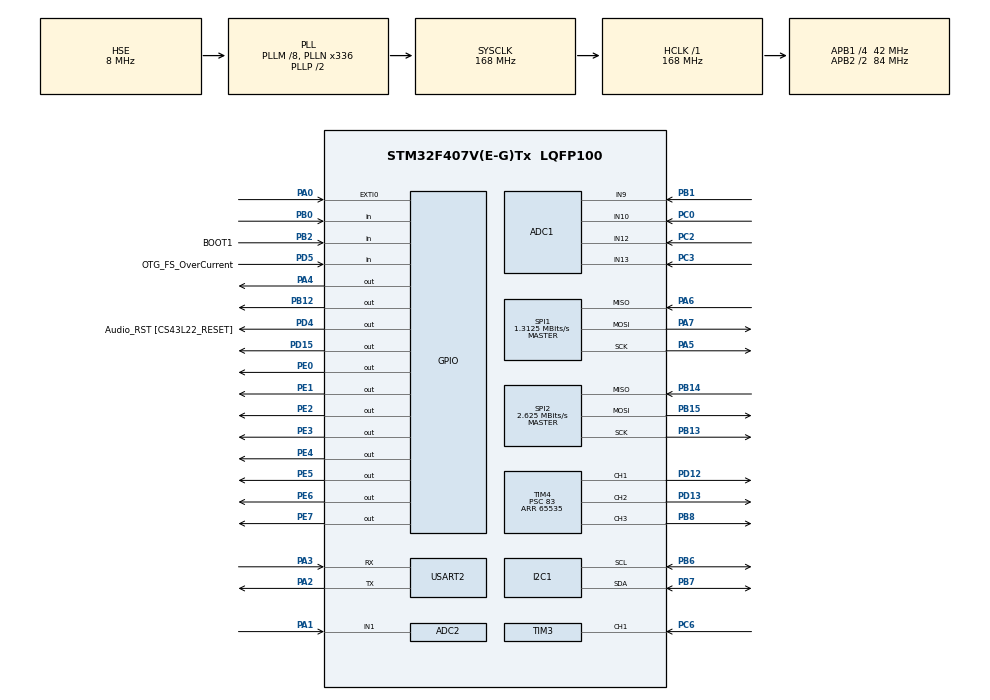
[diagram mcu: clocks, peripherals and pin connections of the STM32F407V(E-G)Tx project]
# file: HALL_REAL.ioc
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ADC1.Channel-1\#ChannelRegularConversion=ADC_CHANNEL_10
ADC1.Channel-2\#ChannelRegularConversion=ADC_CHANNEL_12
ADC1.Channel-3\#ChannelRegularConversion=ADC_CHANNEL_13
ADC1.Channel-4\#ChannelRegularConversion=ADC_CHANNEL_9
ADC1.ContinuousConvMode=ENABLE
ADC1.DMAContinuousRequests=ENABLE
ADC1.NbrOfConversion=4
ADC1.NbrOfConversionFlag=1
ADC1.Rank-1\#ChannelRegularConversion=1
ADC1.Rank-2\#ChannelRegularConversion=2
ADC1.Rank-3\#ChannelRegularConversion=3
ADC1.Rank-4\#ChannelRegularConversion=4
ADC1.SamplingTime-1\#ChannelRegularConversion=ADC_SAMPLETIME_84CYCLES
ADC1.SamplingTime-2\#ChannelRegularConversion=ADC_SAMPLETIME_84CYCLES
ADC1.SamplingTime-3\#ChannelRegularConversion=ADC_SAMPLETIME_84CYCLES
ADC1.SamplingTime-4\#ChannelRegularConversion=ADC_SAMPLETIME_84CYCLES
ADC1.ScanConvMode=ENABLE
ADC1.master=1
ADC2.Channel-1\#ChannelRegularConversion=ADC_CHANNEL_1
ADC2.NbrOfConversionFlag=1
ADC2.Rank-1\#ChannelRegularConversion=1
ADC2.SamplingTime-1\#ChannelRegularConversion=ADC_SAMPLETIME_3CYCLES
Dma.ADC1.0.Direction=DMA_PERIPH_TO_MEMORY
Dma.ADC1.0.FIFOMode=DMA_FIFOMODE_DISABLE
Dma.ADC1.0.Instance=DMA2_Stream0
Dma.ADC1.0.MemDataAlignment=DMA_MDATAALIGN_HALFWORD
Dma.ADC1.0.MemInc=DMA_MINC_ENABLE
Dma.ADC1.0.Mode=DMA_CIRCULAR
Dma.ADC1.0.PeriphDataAlignment=DMA_PDATAALIGN_HALFWORD
Dma.ADC1.0.PeriphInc=DMA_PINC_DISABLE
Dma.ADC1.0.Priority=DMA_PRIORITY_LOW
Dma.Request0=ADC1
FATFS._USE_LFN=1
I2C1.I2C_Mode=I2C_Fast
Mcu.Family=STM32F4
Mcu.Name=STM32F407V(E-G)Tx
Mcu.Package=LQFP100
NVIC.DMA2_Stream0_IRQn=true\:0\:0\:false\:false\:true\:false\:true\:true
NVIC.EXTI0_IRQn=true\:0\:0\:false\:false\:true\:true\:true\:true
NVIC.PriorityGroup=NVIC_PRIORITYGROUP_0
NVIC.TIM3_IRQn=true\:0\:0\:false\:false\:true\:true\:true\:true
NVIC.TIM7_IRQn=true\:0\:0\:false\:true\:true\:2\:true\:true\:true
NVIC.USART2_IRQn=true\:0\:0\:false\:false\:true\:true\:true\:true
PA0-WKUP.Signal=GPXTI0
PA1.Signal=ADCx_IN1
PA10.GPIO_Label=OTG_FS_ID
PA10.GPIO_Mode=GPIO_MODE_AF_PP
PA10.GPIO_PuPd=GPIO_NOPULL
PA10.GPIO_Speed=GPIO_SPEED_FREQ_LOW
PA10.Signal=USB_OTG_FS_ID
PA11.GPIO_Label=OTG_FS_DM
PA11.GPIO_Mode=GPIO_MODE_AF_PP
PA11.GPIO_PuPd=GPIO_NOPULL
PA11.GPIO_Speed=GPIO_SPEED_FREQ_LOW
PA11.Signal=USB_OTG_FS_DM
PA12.GPIO_Label=OTG_FS_DP
PA12.GPIO_Mode=GPIO_MODE_AF_PP
PA12.GPIO_PuPd=GPIO_NOPULL
PA12.GPIO_Speed=GPIO_SPEED_FREQ_LOW
PA12.Signal=USB_OTG_FS_DP
PA13.GPIO_Label=SWDIO
PA13.Mode=Serial_Wire
PA13.Signal=SYS_JTMS-SWDIO
PA14.GPIO_Label=SWCLK
PA14.Mode=Serial_Wire
PA14.Signal=SYS_JTCK-SWCLK
PA2.Mode=Asynchronous
PA2.Signal=USART2_TX
PA3.Mode=Asynchronous
PA3.Signal=USART2_RX
PA4.Signal=GPIO_Output
PA5.Mode=Full_Duplex_Master
PA5.Signal=SPI1_SCK
PA6.Mode=Full_Duplex_Master
PA6.Signal=SPI1_MISO
PA7.Mode=Full_Duplex_Master
PA7.Signal=SPI1_MOSI
PA9.GPIO_Label=VBUS_FS
PA9.GPIO_Mode=GPIO_MODE_INPUT
PA9.GPIO_PuPd=GPIO_NOPULL
PA9.Signal=USB_OTG_FS_VBUS
PB0.Signal=GPIO_Input
PB1.Signal=ADCx_IN9
PB10.GPIO_Label=CLK_IN [MP45DT02_CLK]
PB10.GPIO_Mode=GPIO_MODE_AF_PP
PB10.GPIO_PuPd=GPIO_NOPULL
PB10.GPIO_Speed=GPIO_SPEED_FREQ_LOW
PB10.Signal=I2S2_CK
PB12.Signal=GPIO_Output
PB13.Mode=Full_Duplex_Master
PB13.Signal=SPI2_SCK
PB14.Mode=Full_Duplex_Master
PB14.Signal=SPI2_MISO
PB15.Mode=Full_Duplex_Master
PB15.Signal=SPI2_MOSI
PB2.GPIO_Label=BOOT1
PB2.GPIO_Mode=GPIO_MODE_INPUT
PB2.GPIO_PuPd=GPIO_NOPULL
PB2.Signal=GPIO_Input
PB3.GPIO_Label=SWO
PB3.Signal=SYS_JTDO-SWO
PB6.Mode=I2C
PB6.Signal=I2C1_SCL
PB7.Mode=I2C
PB7.Signal=I2C1_SDA
PB8.Signal=S_TIM4_CH3
PC0.Signal=ADCx_IN10
PC10.GPIO_Label=I2S3_SCK [CS43L22_SCLK]
PC10.GPIO_Mode=GPIO_MODE_AF_PP
PC10.GPIO_PuPd=GPIO_NOPULL
PC10.GPIO_Speed=GPIO_SPEED_FREQ_LOW
PC10.Signal=I2S3_CK
PC12.GPIO_Label=I2S3_SD [CS43L22_SDIN]
PC12.GPIO_Mode=GPIO_MODE_AF_PP
PC12.GPIO_PuPd=GPIO_NOPULL
PC12.GPIO_Speed=GPIO_SPEED_FREQ_LOW
PC12.Signal=I2S3_SD
PC14-OSC32_IN.GPIO_Label=PC14-OSC32_IN
PC14-OSC32_IN.Mode=LSE-External-Oscillator
PC14-OSC32_IN.Signal=RCC_OSC32_IN
PC15-OSC32_OUT.GPIO_Label=PC15-OSC32_OUT
PC15-OSC32_OUT.Mode=LSE-External-Oscillator
PC15-OSC32_OUT.Signal=RCC_OSC32_OUT
PC2.Signal=ADCx_IN12
PC3.Signal=ADCx_IN13
PC6.Signal=S_TIM3_CH1
PC7.GPIO_Label=I2S3_MCK [CS43L22_MCLK]
PC7.GPIO_Mode=GPIO_MODE_AF_PP
PC7.GPIO_PuPd=GPIO_NOPULL
PC7.GPIO_Speed=GPIO_SPEED_FREQ_LOW
PC7.Signal=I2S3_MCK
PD12.Signal=S_TIM4_CH1
PD13.Signal=S_TIM4_CH2
PD15.Signal=GPIO_Output
PD4.GPIO_Label=Audio_RST [CS43L22_RESET]
PD4.GPIO_PuPd=GPIO_NOPULL
PD4.GPIO_Speed=GPIO_SPEED_FREQ_LOW
PD4.Signal=GPIO_Output
PD5.GPIO_Label=OTG_FS_OverCurrent
PD5.GPIO_Mode=GPIO_MODE_INPUT
PD5.GPIO_PuPd=GPIO_NOPULL
PD5.Signal=GPIO_Input
PE0.Signal=GPIO_Output
PE1.Signal=GPIO_Output
PE2.Signal=GPIO_Output
PE3.Signal=GPIO_Output
PE4.Signal=GPIO_Output
PE5.Signal=GPIO_Output
PE6.Signal=GPIO_Output
PE7.Signal=GPIO_Output
PH0-OSC_IN.GPIO_Label=PH0-OSC_IN
PH0-OSC_IN.Mode=HSE-External-Oscillator
PH0-OSC_IN.Signal=RCC_OSC_IN
PH1-OSC_OUT.GPIO_Label=PH1-OSC_OUT
PH1-OSC_OUT.Mode=HSE-External-Oscillator
PH1-OSC_OUT.Signal=RCC_OSC_OUT
ProjectManager.HeapSize=0x200
ProjectManager.StackSize=0x400
ProjectManager.TargetToolchain=STM32CubeIDE
RCC.48MHZClocksFreq_Value=48000000
RCC.AHBFreq_Value=168000000
RCC.APB1CLKDivider=RCC_HCLK_DIV4
RCC.APB1Freq_Value=42000000
RCC.APB1TimFreq_Value=84000000
RCC.APB2CLKDivider=RCC_HCLK_DIV2
RCC.APB2Freq_Value=84000000
RCC.APB2TimFreq_Value=168000000
RCC.CortexFreq_Value=168000000
RCC.HCLKFreq_Value=168000000
RCC.HSE_VALUE=8000000
RCC.HSI_VALUE=16000000
RCC.PLLM=8
RCC.PLLN=336
RCC.PLLQ=7
RCC.PLLSourceVirtual=RCC_PLLSOURCE_HSE
RCC.SYSCLKFreq_VALUE=168000000
RCC.SYSCLKSource=RCC_SYSCLKSOURCE_PLLCLK
RCC.VCOOutputFreq_Value=336000000
SH.ADCx_IN1.0=ADC2_IN1,IN1
SH.ADCx_IN10.0=ADC1_IN10,IN10
SH.ADCx_IN12.0=ADC1_IN12,IN12
SH.ADCx_IN13.0=ADC1_IN13,IN13
SH.ADCx_IN9.0=ADC1_IN9,IN9
SH.S_TIM3_CH1.0=TIM3_CH1,Input_Capture1_from_TI1
SH.S_TIM4_CH1.0=TIM4_CH1,PWM Generation1 CH1
SH.S_TIM4_CH2.0=TIM4_CH2,PWM Generation2 CH2
SH.S_TIM4_CH3.0=TIM4_CH3,PWM Generation3 CH3
SPI1.BaudRatePrescaler=SPI_BAUDRATEPRESCALER_64
SPI1.CLKPhase=SPI_PHASE_1EDGE
SPI1.CLKPolarity=SPI_POLARITY_LOW
SPI1.CalculateBaudRate=1.3125 MBits/s
SPI1.Direction=SPI_DIRECTION_2LINES
SPI1.Mode=SPI_MODE_MASTER
SPI1.VirtualType=VM_MASTER
SPI2.BaudRatePrescaler=SPI_BAUDRATEPRESCALER_16
SPI2.CalculateBaudRate=2.625 MBits/s
SPI2.Direction=SPI_DIRECTION_2LINES
SPI2.Mode=SPI_MODE_MASTER
SPI2.VirtualType=VM_MASTER
TIM10.Channel=TIM_CHANNEL_1
TIM10.Period=10000-1
TIM10.Prescaler=335
TIM10.Pulse=100
TIM2.Period=1000-1
TIM2.Prescaler=167
TIM3.Channel-Input_Capture1_from_TI1=TIM_CHANNEL_1
TIM3.Prescaler=83
TIM4.Channel-PWM\ Generation1\ CH1=TIM_CHANNEL_1
TIM4.Channel-PWM\ Generation2\ CH2=TIM_CHANNEL_2
TIM4.Channel-PWM\ Generation3\ CH3=TIM_CHANNEL_3
TIM4.Period=65535
TIM4.Prescaler=83
TIM4.Pulse-PWM\ Generation1\ CH1=21000-1
TIM4.Pulse-PWM\ Generation2\ CH2=10500-1
TIM4.Pulse-PWM\ Generation3\ CH3=5250-1
TIM5.Period=10000-1
TIM5.Prescaler=84-1
TIM7.Period=99
TIM7.Prescaler=8399
USART2.VirtualMode=VM_ASYNC
VP_FATFS_VS_Generic.Mode=User_defined
VP_TIM10_VS_ClockSourceINT.Mode=Enable_Timer
VP_TIM2_VS_ClockSourceINT.Mode=Internal
VP_TIM3_VS_ClockSourceINT.Mode=Internal
VP_TIM4_VS_ClockSourceINT.Mode=Internal
VP_TIM5_VS_ClockSourceINT.Mode=Internal
VP_TIM7_VS_ClockSourceINT.Mode=Enable_Timer
board=STM32F407G-DISC1

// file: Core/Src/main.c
/* USER CODE BEGIN Header */
/**
  ******************************************************************************
  * @file           : main.c
  * @brief          : VS10xx (VS1003/VS1053) + SD/FatFS MP3 streaming
  *                   Blue USER button (PA0 / EXTI0) skips to next track.
  *                   Falls back to embedded MP3 sample if SD open/mount fails.
  ******************************************************************************
  */
/* USER CODE END Header */

#include "main.h"
#include "adc.h"
#include "dma.h"
#include "i2c.h"
#include "spi.h"
#include "tim.h"
#include "usart.h"
#include "gpio.h"
#include "fatfs.h"

/* USER CODE BEGIN Includes */
#include <string.h>
#include <stdio.h>
#include <stdarg.h>
#include "MP3Sample.h"    // provides: sampleMp3[], sampleMp3_len (fallback)
/* USER CODE END Includes */

/* USER CODE BEGIN PD */
/* -------- VS10xx pin map (match CubeMX setup) -------- */
#define VS_XCS_PORT   GPIOA
#define VS_XCS_PIN    GPIO_PIN_4   // SCI CS
#define VS_XDCS_PORT  GPIOE
#define VS_XDCS_PIN   GPIO_PIN_3   // SDI CS
#define VS_RST_PORT   GPIOE
#define VS_RST_PIN    GPIO_PIN_2   // Reset
#define VS_DREQ_PORT  GPIOB
#define VS_DREQ_PIN   GPIO_PIN_0   // Data request (input)

/* SCI register addresses */
#define SCI_MODE      0x00
#define SCI_STATUS    0x01
#define SCI_CLOCKF    0x03
#define SCI_VOL       0x0B

/* SCI opcodes */
#define SCI_WRITE_OP  0x02
#define SCI_READ_OP   0x03

/* ---- VS10xx SCI MODE bits ---- */
#define SM_SDINEW          (1<<11)

/* Pin macros */
#define VS_XCS_L()        HAL_GPIO_WritePin(VS_XCS_PORT,  VS_XCS_PIN,  GPIO_PIN_RESET)
#define VS_XCS_H()        HAL_GPIO_WritePin(VS_XCS_PORT,  VS_XCS_PIN,  GPIO_PIN_SET)
#define VS_XDCS_L()       HAL_GPIO_WritePin(VS_XDCS_PORT, VS_XDCS_PIN, GPIO_PIN_RESET)
#define VS_XDCS_H()       HAL_GPIO_WritePin(VS_XDCS_PORT, VS_XDCS_PIN, GPIO_PIN_SET)
#define VS_RST_L()        HAL_GPIO_WritePin(VS_RST_PORT,  VS_RST_PIN,  GPIO_PIN_RESET)
#define VS_RST_H()        HAL_GPIO_WritePin(VS_RST_PORT,  VS_RST_PIN,  GPIO_PIN_SET)
#define VS_DREQ_IS_H()   (HAL_GPIO_ReadPin(VS_DREQ_PORT, VS_DREQ_PIN) == GPIO_PIN_SET)

/* --- SD (SPI2) chip-select on PB12 --- */
#define SD_CS_PORT   GPIOB
#define SD_CS_PIN    GPIO_PIN_12
#define SD_CS_LOW()  HAL_GPIO_WritePin(SD_CS_PORT, SD_CS_PIN, GPIO_PIN_RESET)
#define SD_CS_HIGH() HAL_GPIO_WritePin(SD_CS_PORT, SD_CS_PIN, GPIO_PIN_SET)

/* SD commands for quick check (SPI mode) */
#define CMD0    (0x40+0)
#define CMD8    (0x40+8)
#define CMD55   (0x40+55)
#define CMD58   (0x40+58)
#define ACMD41  (0xC0+41)

/* Streaming params */
#define MP3_CHUNK   32u
#define BUF_SIZE    2048u

/* USER button (blue, PA0 / EXTI0) */
#define BTN_PORT    GPIOA
#define BTN_PIN     GPIO_PIN_0   // USER/WKUP button on F4-Discovery (active HIGH)
/* USER CODE END PD */

/* USER CODE BEGIN PV */
extern SPI_HandleTypeDef hspi1;   // VS10xx (SPI1)
extern SPI_HandleTypeDef hspi2;   // SD (SPI2)
extern UART_HandleTypeDef huart2;

static uint8_t s_buf[2][BUF_SIZE];   // double buffer for SD reads

/* Playlist (files) */
static const char* kTracks[] = {
  "/music/track1.mp3",
  "/music/track2.mp3",
  "/music/track3.mp3",
};
static const char* kTitles[] = {
  "Western Road — Drake",
  "Starboy — The Weeknd",
  "Stronger — Kanye West",
};
static const uint32_t kNumTracks = sizeof(kTracks)/sizeof(kTracks[0]);

/* Skip flag + debounce */
static volatile uint8_t  g_next_requested = 0;
static volatile uint32_t g_btn_last_ms    = 0;
/* USER CODE END PV */

void SystemClock_Config(void);
static void MX_NVIC_Init(void);
/* USER CODE BEGIN PFP */
static void uprintln(const char *fmt, ...);
static HAL_StatusTypeDef VS_SCI_Write(uint8_t reg, uint16_t val);
static HAL_StatusTypeDef VS_SCI_Read(uint8_t reg, uint16_t *out);
static void VS_HardReset(void);
static void VS_SDI_SendChunk(const uint8_t *p, uint16_t n);
static void VS_SendMusic(const uint8_t *buf, uint32_t len);
static void VS_SendZeros(uint16_t n);
static void VS_InitSimple(void);
static uint8_t spi2_xchg(uint8_t b);
static uint8_t sd_send_cmd(uint8_t cmd, uint32_t arg);
static void   SD_SPI2_Check(void);
static int    PlayFile(const char *path);
/* USER CODE END PFP */

/* USER CODE BEGIN 0 */
static void uprintln(const char *fmt, ...)
{
  char buf[160];
  va_list ap;
  va_start(ap, fmt);
  vsnprintf(buf, sizeof(buf), fmt, ap);
  va_end(ap);
  HAL_UART_Transmit(&huart2, (uint8_t*)buf, (uint16_t)strlen(buf), HAL_MAX_DELAY);
  const uint8_t crlf[2] = {'\r','\n'};
  HAL_UART_Transmit(&huart2, (uint8_t*)crlf, 2, HAL_MAX_DELAY);
}

/* ===== VS10xx inline driver bits ===== */
static HAL_StatusTypeDef VS_SCI_Write(uint8_t reg, uint16_t val)
{
  uint8_t tx[4] = {SCI_WRITE_OP, reg, (uint8_t)(val >> 8), (uint8_t)val};
  while (!VS_DREQ_IS_H());
  VS_XCS_L();
  HAL_StatusTypeDef s = HAL_SPI_Transmit(&hspi1, tx, sizeof(tx), HAL_MAX_DELAY);
  VS_XCS_H();
  return s;
}

static HAL_StatusTypeDef VS_SCI_Read(uint8_t reg, uint16_t *out)
{
  uint8_t tx[2] = {SCI_READ_OP, reg};
  uint8_t rx[2] = {0};
  while (!VS_DREQ_IS_H());
  VS_XCS_L();
  HAL_StatusTypeDef s = HAL_SPI_Transmit(&hspi1, tx, 2, HAL_MAX_DELAY);
  s |= HAL_SPI_Receive(&hspi1, rx, 2, HAL_MAX_DELAY);
  VS_XCS_H();
  *out = ((uint16_t)rx[0] << 8) | rx[1];
  return s;
}

static void VS_HardReset(void)
{
  VS_XCS_H();
  VS_XDCS_H();
  VS_RST_L();
  HAL_Delay(5);
  VS_RST_H();
  uint32_t t0 = HAL_GetTick();
  while (!VS_DREQ_IS_H()) {
    if (HAL_GetTick() - t0 > 300) { uprintln("ERR: DREQ timeout"); break; }
  }
}

/* send ≤32 bytes when DREQ is high */
static void VS_SDI_SendChunk(const uint8_t *p, uint16_t n)
{
  while (n) {
    while (!VS_DREQ_IS_H());
    uint16_t chunk = (n > MP3_CHUNK) ? MP3_CHUNK : n;
    VS_XDCS_L();
    HAL_SPI_Transmit(&hspi1, (uint8_t*)p, chunk, HAL_MAX_DELAY);
    VS_XDCS_H();
    p += chunk;
    n -= chunk;
  }
}

/* stream whole buffer */
static void VS_SendMusic(const uint8_t *buf, uint32_t len)
{
  uint32_t i = 0;
  while (i < len) {
    uint16_t chunk = (len - i > 512) ? 512 : (uint16_t)(len - i);
    VS_SDI_SendChunk(&buf[i], chunk);
    i += chunk;
  }
}

/* a small end-fill to flush decoder */
static void VS_SendZeros(uint16_t n)
{
  uint8_t z[32] = {0};
  while (n) {
    uint16_t c = (n > sizeof(z)) ? sizeof(z) : n;
    VS_SDI_SendChunk(z, c);
    n -= c;
  }
}

/* Minimal VS init */
static void VS_InitSimple(void)
{
  VS_HardReset();
  VS_SCI_Write(SCI_MODE, SM_SDINEW);
  HAL_Delay(2);

  uint16_t mode=0, status=0, clockf=0;
  VS_SCI_Read(SCI_MODE,   &mode);
  VS_SCI_Read(SCI_STATUS, &status);
  VS_SCI_Read(SCI_CLOCKF, &clockf);
  uprintln("SCI_MODE  = 0x%04X", mode);
  uprintln("SCI_STATUS= 0x%04X", status);
  uprintln("SCI_CLOCKF= 0x%04X", clockf);

  uprintln("Set CLOCKF & VOL...");
  VS_SCI_Write(SCI_CLOCKF, 0x8800);
  VS_SCI_Write(SCI_VOL,     0x2020);
  HAL_Delay(20);
}

/* ===== SD quick-check helpers (SPI mode) ===== */
static uint8_t spi2_xchg(uint8_t b)
{
  uint8_t rx;
  HAL_SPI_TransmitReceive(&hspi2, &b, &rx, 1, HAL_MAX_DELAY);
  return rx;
}

static uint8_t sd_send_cmd(uint8_t cmd, uint32_t arg)
{
  uint8_t res, pkt[6];
  if (cmd & 0x80) {
    cmd &= 0x7F;
    res = sd_send_cmd(CMD55, 0);
    if (res > 1) return res;
  }

  SD_CS_HIGH(); spi2_xchg(0xFF);
  SD_CS_LOW();  spi2_xchg(0xFF);

  pkt[0] = cmd;
  pkt[1] = (uint8_t)(arg >> 24);
  pkt[2] = (uint8_t)(arg >> 16);
  pkt[3] = (uint8_t)(arg >> 8);
  pkt[4] = (uint8_t)(arg);
  pkt[5] = (cmd == CMD0) ? 0x95 : (cmd == CMD8 ? 0x87 : 0x01);

  HAL_SPI_Transmit(&hspi2, pkt, 6, HAL_MAX_DELAY);
  for (int i = 0; i < 10; i++) {
    res = spi2_xchg(0xFF);
    if (!(res & 0x80)) return res;
  }
  return 0xFF;
}

static void SD_SPI2_Check(void)
{
  SD_CS_HIGH();
  for (int i = 0; i < 10; i++) spi2_xchg(0xFF);

  uint8_t r1 = sd_send_cmd(CMD0, 0);
  uint8_t r7[5] = {0}, ver = 0;
  if (r1 == 0x01) {
    r1 = sd_send_cmd(CMD8, 0x1AA);
    r7[0] = r1;
    for (int i = 1; i < 5; i++) r7[i] = spi2_xchg(0xFF);
    if (r7[0] == 0x01 && r7[3] == 0x01 && r7[4] == 0xAA) ver = 2;
  }

  uint32_t t0 = HAL_GetTick();
  do {
    r1 = sd_send_cmd(ACMD41, ver ? (1UL << 30) : 0);
    if (r1 == 0x00) break;
  } while ((HAL_GetTick() - t0) < 1500);

  (void)sd_send_cmd(CMD58, 0);
  uint8_t ocr[4];
  for (int i = 0; i < 4; i++) ocr[i] = spi2_xchg(0xFF);
  SD_CS_HIGH(); spi2_xchg(0xFF);

  uint32_t ocr32 = ((uint32_t)ocr[0] << 24) | ((uint32_t)ocr[1] << 16) |
                   ((uint32_t)ocr[2] << 8) | ocr[3];
  int ccs = (ocr[0] & 0x40) ? 1 : 0;

  uprintln("=== SPI2 microSD Quick Check ===");
  uprintln("SD_VERSION=%s  ACMD41=%s  OCR=0x%08lX  CCS=%d",
           ver ? "V2" : "V1/Unknown",
           (r1 == 0x00) ? "OK" : "FAIL",
           (unsigned long)ocr32, ccs);
}

/* ===== Player: SD -> VS10xx (double buffer) ===== */
/* Return: 0 = normal EOF, 1 = aborted (skip) */
static int PlayFile(const char *path)
{
  FIL f; FRESULT fr; UINT br = 0;
  uint8_t a = 0;

  fr = f_open(&f, path, FA_READ);
  if (fr != FR_OK) {
    uprintln("ERR: f_open %s (%d)", path, fr);
    uprintln("Fallback: playing embedded sample.");
    VS_SendMusic(sampleMp3, sampleMp3_len);
    VS_SendZeros(2052);
    return 0;
  }
  uprintln("▶ %s", path);

  fr = f_read(&f, s_buf[a], BUF_SIZE, &br);
  if (fr != FR_OK || br == 0) { f_close(&f); uprintln("ERR: empty/rd"); return 0; }

  while (1) {
    if (g_next_requested) { uprintln("⏭ skip requested"); break; }

    uint8_t n = a ^ 1;
    UINT br_next = 0;
    FRESULT fr_next = f_read(&f, s_buf[n], BUF_SIZE, &br_next);

    uint32_t i = 0;
    while (i < br) {
      if (g_next_requested) { uprintln("⏭ abort during feed"); goto abort_now; }
      if (VS_DREQ_IS_H()) {
        uint32_t take = (br - i > MP3_CHUNK) ? MP3_CHUNK : (br - i);
        VS_SDI_SendChunk(&s_buf[a][i], (uint16_t)take);
        i += take;
      }
    }

    if (fr_next != FR_OK || br_next == 0) break;
    a = n; br = br_next;
  }

abort_now:
  f_close(&f);
  VS_SendZeros(2048);

  if (g_next_requested) {
    g_next_requested = 0;
    return 1;   // skipped
  }
  uprintln("✅ Done");
  return 0;     // normal EOF
}

/* === EXTI callback for blue button (PA0) === */
void HAL_GPIO_EXTI_Callback(uint16_t GPIO_Pin)
{
  if (GPIO_Pin == BTN_PIN) {
    uint32_t now = HAL_GetTick();
    if ((now - g_btn_last_ms) > 200) {   // debounce
      g_btn_last_ms = now;
      g_next_requested = 1;
      uprintln("Button: NEXT");
    }
  }
}
/* USER CODE END 0 */

int main(void)
{
  HAL_Init();
  SystemClock_Config();

  MX_GPIO_Init();
  MX_DMA_Init();
  MX_TIM7_Init();
  MX_TIM4_Init();
  MX_TIM10_Init();
  MX_TIM2_Init();
  MX_TIM5_Init();
  MX_ADC1_Init();
  MX_TIM3_Init();
  MX_I2C1_Init();
  MX_USART2_UART_Init();
  MX_ADC2_Init();
  MX_SPI1_Init();        // VS10xx on SPI1
  MX_SPI2_Init();        // SD card on SPI2
  MX_FATFS_Init();
  MX_NVIC_Init();

  uprintln("VS1003 + SD/FatFS MP3 streaming starting...");
  SD_CS_HIGH();
  SD_SPI2_Check();

  FRESULT res = f_mount(&USERFatFS, USERPath, 1);
  if (res != FR_OK) {
    uprintln("f_mount FAILED (%d) -> fallback to embedded sample", res);
    VS_InitSimple();
    uprintln("♪ Now Playing: Embedded Sample");
    VS_SendMusic(sampleMp3, sampleMp3_len);
    VS_SendZeros(2052);
    while (1) HAL_Delay(1000);
  }
  uprintln("f_mount OK (%d)", res);

  VS_InitSimple();
  SD_CS_HIGH();

  uint32_t idx = 0;
  while (1) {
    uprintln("♪ Now Playing: %s", kTitles[idx]);
    (void)PlayFile(kTracks[idx]);
    idx = (idx + 1) % kNumTracks;
    HAL_Delay(50);
  }
}

/**
  * @brief NVIC Configuration.
  * @retval None
  */
static void MX_NVIC_Init(void)
{
  HAL_NVIC_SetPriority(TIM7_IRQn, 0, 0);
  HAL_NVIC_EnableIRQ(TIM7_IRQn);

  HAL_NVIC_SetPriority(EXTI0_IRQn, 1, 0);
  HAL_NVIC_EnableIRQ(EXTI0_IRQn);
}

void SystemClock_Config(void)
{
  RCC_OscInitTypeDef RCC_OscInitStruct = {0};
  RCC_ClkInitTypeDef RCC_ClkInitStruct = {0};
  __HAL_RCC_PWR_CLK_ENABLE();
  __HAL_PWR_VOLTAGESCALING_CONFIG(PWR_REGULATOR_VOLTAGE_SCALE1);
  RCC_OscInitStruct.OscillatorType = RCC_OSCILLATORTYPE_HSE;
  RCC_OscInitStruct.HSEState = RCC_HSE_ON;
  RCC_OscInitStruct.PLL.PLLState = RCC_PLL_ON;
  RCC_OscInitStruct.PLL.PLLSource = RCC_PLLSOURCE_HSE;
  RCC_OscInitStruct.PLL.PLLM = 8;
  RCC_OscInitStruct.PLL.PLLN = 336;
  RCC_OscInitStruct.PLL.PLLP = RCC_PLLP_DIV2;
  RCC_OscInitStruct.PLL.PLLQ = 7;
  if (HAL_RCC_OscConfig(&RCC_OscInitStruct) != HAL_OK) { Error_Handler(); }
  RCC_ClkInitStruct.ClockType = RCC_CLOCKTYPE_HCLK|RCC_CLOCKTYPE_SYSCLK
                              | RCC_CLOCKTYPE_PCLK1|RCC_CLOCKTYPE_PCLK2;
  RCC_ClkInitStruct.SYSCLKSource = RCC_SYSCLKSOURCE_PLLCLK;
  RCC_ClkInitStruct.AHBCLKDivider = RCC_SYSCLK_DIV1;
  RCC_ClkInitStruct.APB1CLKDivider = RCC_HCLK_DIV4;
  RCC_ClkInitStruct.APB2CLKDivider = RCC_HCLK_DIV2;
  if (HAL_RCC_ClockConfig(&RCC_ClkInitStruct, FLASH_LATENCY_5) != HAL_OK) { Error_Handler(); }
}

/**
  * @brief  Error Handler
  */
void Error_Handler(void)
{
  __disable_irq();
  while (1) { }
}
